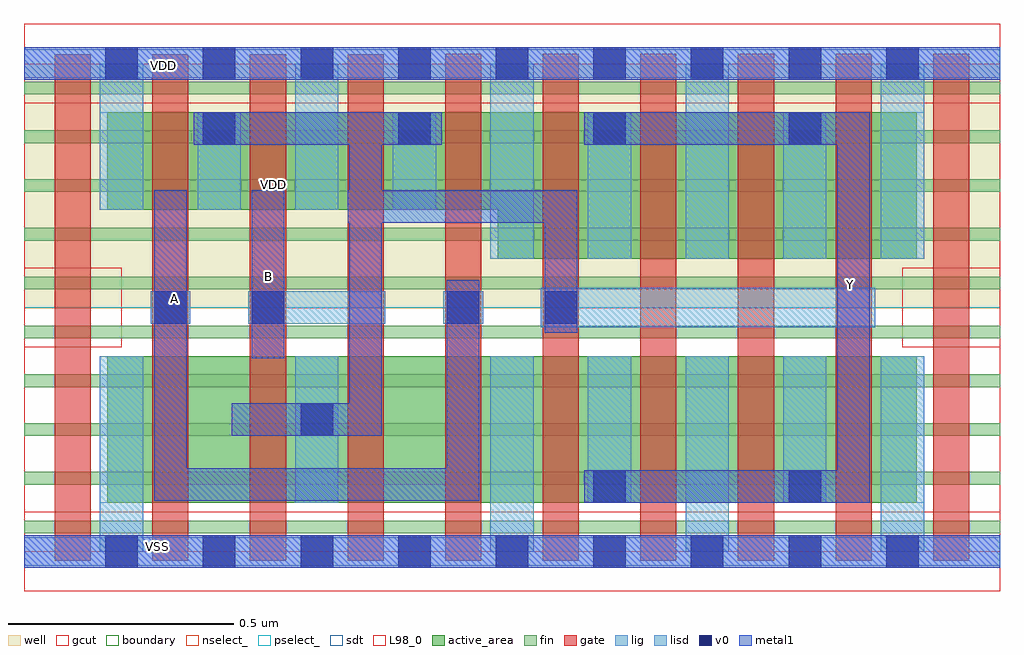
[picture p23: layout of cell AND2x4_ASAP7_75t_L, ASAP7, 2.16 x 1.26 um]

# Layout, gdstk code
import gdstk
lib = gdstk.Library(unit=1e-6, precision=2.5e-10)
def R(c, l, rs):  # rectangles x0, y0, x1, y1
    for r in rs: c.add(gdstk.rectangle(r[:2], r[2:], *l))
def A(c, l, x, y, w, h, nx, ny, dx, dy):  # array of equal rectangles
    R(c, l, [(x+i*dx, y+j*dy, x+i*dx+w, y+j*dy+h) for i in range(nx) for j in range(ny)])
def P(c, l, *ps):  # polygons
    for p in ps: c.add(gdstk.Polygon(p, *l))
well = (1, 0)
fin = (2, 0)
gate = (7, 0)
gcut = (10, 0)
active_area = (11, 0)
nselect_ = (12, 0)
pselect_ = (13, 0)
lig = (16, 0)
lisd = (17, 0)
v0 = (18, 0)
metal1 = (19, 0)
sdt = (88, 0)
L98_0 = (98, 0)
boundary = (100, 0)

and2x4_asap7_75t_l = lib.new_cell('AND2x4_ASAP7_75t_L')
R(and2x4_asap7_75t_l, well, [(0,0.54,2.16,1.08)])
A(and2x4_asap7_75t_l, fin, 0, 0.04, 2.16, 0.028, 1, 10, 0, 0.108)
A(and2x4_asap7_75t_l, gate, 0.068, -0.02, 0.08, 1.12, 4, 1, 0.216, 0)
A(and2x4_asap7_75t_l, gate, 0.932, -0.02, 0.08, 1.122, 4, 1, 0.216, 0)
R(and2x4_asap7_75t_l, gate, [(1.58,-0.02,1.66,1.102), (1.796,-0.02,1.876,1.102), (1.796,-0.02,1.876,1.102), (2.012,-0.02,2.092,1.102)])
R(and2x4_asap7_75t_l, gcut, [(0,-0.088,2.16,0.088), (0,0.452,0.216,0.628), (1.944,0.452,2.16,0.628), (0,0.992,2.16,1.168)])
R(and2x4_asap7_75t_l, active_area, [(0.184,0.108,1.976,0.432)])
P(and2x4_asap7_75t_l, active_area, [(1.976,0.972),(0.184,0.972),(0.184,0.756),(1.048,0.756),(1.048,0.648),(1.976,0.648)])
R(and2x4_asap7_75t_l, nselect_, [(0,0,2.16,0.54)])
R(and2x4_asap7_75t_l, pselect_, [(0,0.54,2.16,1.08)])
R(and2x4_asap7_75t_l, lig, [(0,-0.032,2.16,0.032), (1.144,0.496,1.884,0.584), (0.28,0.504,0.368,0.576), (0.496,0.504,0.8,0.576), (0.928,0.504,1.016,0.576), (0,1.048,2.16,1.112)])
A(and2x4_asap7_75t_l, lisd, 1.032, 0, 0.096, 0.432, 3, 2, 0.432, 0.648)
R(and2x4_asap7_75t_l, lisd, [(0.168,0,0.264,0.432), (1.896,0,1.992,0.432), (0.6,0.108,0.696,0.432), (1.248,0.108,1.344,0.432), (1.68,0.108,1.776,0.432), (1.68,0.108,1.776,0.432), (1.248,0.648,1.344,0.972), (1.68,0.648,1.776,0.972), (1.68,0.648,1.776,0.972), (1.896,0.648,1.992,1.08), (0.168,0.756,0.264,1.08), (0.384,0.756,0.48,0.972), (0.6,0.756,0.696,1.08), (0.816,0.756,0.912,0.972)])
A(and2x4_asap7_75t_l, v0, 0.18, -0.036, 0.072, 0.072, 8, 2, 0.216, 1.08)
A(and2x4_asap7_75t_l, v0, 0.396, 0.9, 0.072, 0.072, 4, 1, 0.432, 0)
R(and2x4_asap7_75t_l, v0, [(1.692,-0.036,1.764,0.036), (1.908,-0.036,1.98,0.036), (1.908,-0.036,1.98,0.036), (1.26,0.108,1.332,0.18), (1.692,0.108,1.764,0.18), (1.692,0.108,1.764,0.18), (0.612,0.256,0.684,0.328), (0.288,0.504,0.36,0.576), (0.504,0.504,0.576,0.576), (0.936,0.504,1.008,0.576), (1.152,0.504,1.224,0.576), (1.692,0.9,1.764,0.972), (1.692,1.044,1.764,1.116), (1.908,1.044,1.98,1.116), (1.908,1.044,1.98,1.116)])
R(and2x4_asap7_75t_l, metal1, [(0,-0.036,2.16,0.036), (0.504,0.428,0.576,0.8), (0,1.044,2.16,1.116)])
P(and2x4_asap7_75t_l, metal1, [(1.008,0.6),(0.936,0.6),(0.936,0.184),(0.36,0.184),(0.36,0.8),(0.288,0.8),(0.288,0.112),(1.008,0.112)],
  [(1.224,0.8),(0.792,0.8),(0.792,0.9),(0.924,0.9),(0.924,0.972),(0.376,0.972),(0.376,0.9),(0.72,0.9),(0.72,0.8),(0.716,0.8),(0.716,0.728),(0.72,0.728),(0.72,0.328),(0.46,0.328),(0.46,0.256),(0.792,0.256),(0.792,0.728),(1.152,0.728),(1.152,0.484),(1.224,0.484)],
  [(1.872,0.972),(1.24,0.972),(1.24,0.9),(1.8,0.9),(1.8,0.18),(1.24,0.18),(1.24,0.108),(1.872,0.108)])
A(and2x4_asap7_75t_l, sdt, 0.168, 0.108, 0.096, 0.324, 3, 1, 0.432, 0)
A(and2x4_asap7_75t_l, sdt, 1.248, 0.108, 0.096, 0.324, 3, 1, 0.216, 0)
A(and2x4_asap7_75t_l, sdt, 1.032, 0.648, 0.096, 0.324, 4, 1, 0.216, 0)
A(and2x4_asap7_75t_l, sdt, 0.168, 0.756, 0.096, 0.216, 4, 1, 0.216, 0)
R(and2x4_asap7_75t_l, sdt, [(1.68,0.108,1.776,0.432), (1.896,0.108,1.992,0.432), (1.896,0.108,1.992,0.432), (1.68,0.648,1.776,0.972), (1.896,0.648,1.992,0.972), (1.896,0.648,1.992,0.972)])
R(and2x4_asap7_75t_l, L98_0, [(0,0,2.16,1.08)])
R(and2x4_asap7_75t_l, boundary, [(0,0,2.16,1.08)])
and2x4_asap7_75t_l.add(gdstk.Label('VDD', (0.552,0.812), layer=1, texttype=251))
and2x4_asap7_75t_l.add(gdstk.Label('B', (0.54,0.608), layer=19, texttype=251))
and2x4_asap7_75t_l.add(gdstk.Label('A', (0.332,0.56), layer=19, texttype=251))
and2x4_asap7_75t_l.add(gdstk.Label('Y', (1.83,0.59), layer=19, texttype=251))
and2x4_asap7_75t_l.add(gdstk.Label('VDD', (0.308,1.076), layer=19, texttype=251))
and2x4_asap7_75t_l.add(gdstk.Label('VSS', (0.296,0.012), layer=19, texttype=251))
and2x4_asap7_75t_l.add(gdstk.Label('VSS', (1.868,-0.2), layer=3, texttype=251))

lib.write_gds('AND2x4_ASAP7_75t_L.gds')
